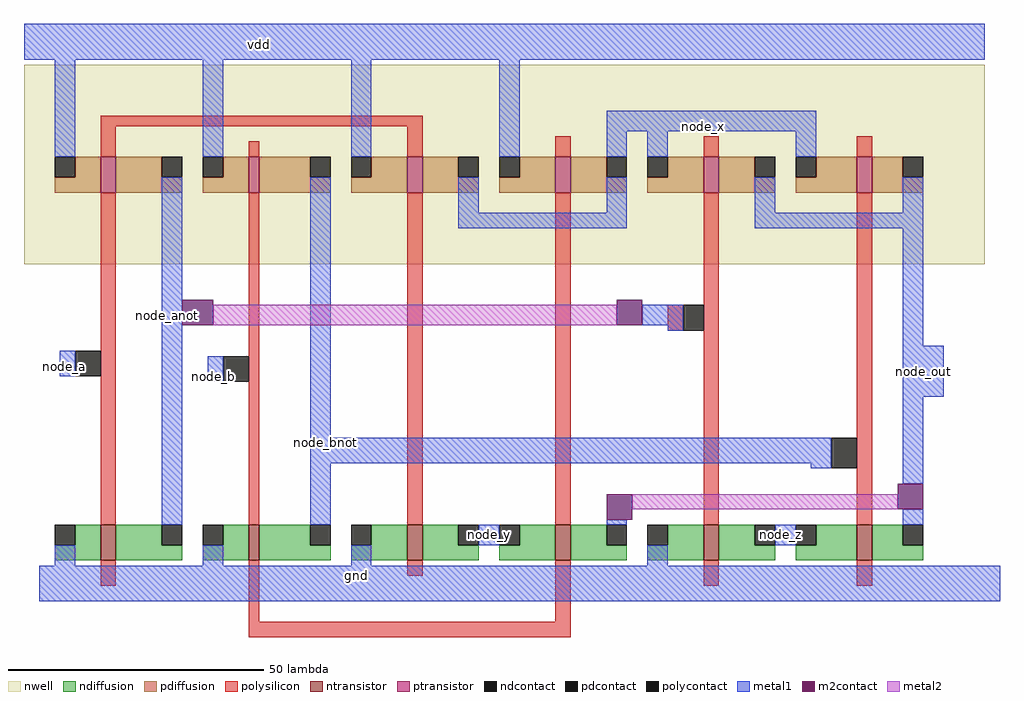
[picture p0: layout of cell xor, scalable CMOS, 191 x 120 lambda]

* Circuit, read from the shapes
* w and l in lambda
.subckt xor gnd node_a node_anot node_b node_bnot node_out node_x node_y node_z vdd
M1 node_anot node_a gnd VSUBS nfet w=7 l=3
M2 node_bnot node_b gnd VSUBS nfet w=7 l=2
M3 node_y node_a gnd VSUBS nfet w=7 l=3
M4 node_out node_b node_y VSUBS nfet w=7 l=3
M5 node_z node_anot gnd VSUBS nfet w=7 l=3
M6 node_out node_bnot node_z VSUBS nfet w=7 l=3
M7 node_anot node_a vdd n1 pfet w=7 l=3
M8 node_bnot node_b vdd n1 pfet w=7 l=2
M9 node_x node_a vdd n1 pfet w=7 l=3
M10 node_x node_b vdd n1 pfet w=7 l=3
M11 node_out node_anot node_x n1 pfet w=7 l=3
M12 node_out node_bnot node_x n1 pfet w=7 l=3
.ends

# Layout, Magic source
magic
tech scmos
<< nwell >>
rect -565 470 -377 509
<< ntransistor >>
rect -550 412 -547 419
rect -521 412 -519 419
rect -490 412 -487 419
rect -461 412 -458 419
rect -432 412 -429 419
rect -402 412 -399 419
<< ptransistor >>
rect -550 484 -547 491
rect -521 484 -519 491
rect -490 484 -487 491
rect -461 484 -458 491
rect -432 484 -429 491
rect -402 484 -399 491
<< ndiffusion >>
rect -555 415 -550 419
rect -559 412 -550 415
rect -547 415 -538 419
rect -547 412 -534 415
rect -526 415 -521 419
rect -530 412 -521 415
rect -519 415 -509 419
rect -519 412 -505 415
rect -497 415 -490 419
rect -501 412 -490 415
rect -487 415 -480 419
rect -487 412 -476 415
rect -468 415 -461 419
rect -472 412 -461 415
rect -458 415 -451 419
rect -458 412 -447 415
rect -439 415 -432 419
rect -443 412 -432 415
rect -429 415 -422 419
rect -429 412 -418 415
rect -410 415 -402 419
rect -414 412 -402 415
rect -399 415 -393 419
rect -399 412 -389 415
<< pdiffusion >>
rect -555 487 -550 491
rect -559 484 -550 487
rect -547 487 -538 491
rect -547 484 -534 487
rect -526 487 -521 491
rect -530 484 -521 487
rect -519 487 -509 491
rect -519 484 -505 487
rect -497 487 -490 491
rect -501 484 -490 487
rect -487 487 -480 491
rect -487 484 -476 487
rect -468 487 -461 491
rect -472 484 -461 487
rect -458 487 -451 491
rect -458 484 -447 487
rect -439 487 -432 491
rect -443 484 -432 487
rect -429 487 -422 491
rect -429 484 -418 487
rect -410 487 -402 491
rect -414 484 -402 487
rect -399 487 -393 491
rect -399 484 -389 487
<< ndcontact >>
rect -559 415 -555 419
rect -538 415 -534 419
rect -530 415 -526 419
rect -509 415 -505 419
rect -501 415 -497 419
rect -480 415 -476 419
rect -472 415 -468 419
rect -451 415 -447 419
rect -443 415 -439 419
rect -422 415 -418 419
rect -414 415 -410 419
rect -393 415 -389 419
<< pdcontact >>
rect -559 487 -555 491
rect -538 487 -534 491
rect -530 487 -526 491
rect -509 487 -505 491
rect -501 487 -497 491
rect -480 487 -476 491
rect -472 487 -468 491
rect -451 487 -447 491
rect -443 487 -439 491
rect -422 487 -418 491
rect -414 487 -410 491
rect -393 487 -389 491
<< polysilicon >>
rect -550 497 -487 499
rect -550 491 -547 497
rect -521 491 -519 494
rect -490 491 -487 497
rect -461 491 -458 495
rect -432 491 -429 495
rect -402 491 -399 495
rect -550 419 -547 484
rect -521 419 -519 484
rect -490 419 -487 484
rect -461 419 -458 484
rect -439 457 -436 462
rect -432 419 -429 484
rect -402 419 -399 484
rect -550 407 -547 412
rect -521 400 -519 412
rect -490 409 -487 412
rect -461 400 -458 412
rect -432 407 -429 412
rect -402 407 -399 412
rect -521 397 -458 400
<< polycontact >>
rect -555 448 -550 453
rect -526 447 -521 452
rect -436 457 -432 462
rect -407 430 -402 436
<< metal1 >>
rect -565 510 -377 517
rect -559 491 -555 510
rect -530 491 -526 510
rect -501 491 -497 510
rect -472 491 -468 510
rect -451 496 -410 500
rect -451 491 -447 496
rect -443 491 -439 496
rect -414 491 -410 496
rect -558 448 -555 453
rect -538 419 -534 487
rect -529 447 -526 452
rect -509 436 -505 487
rect -480 480 -476 487
rect -451 480 -447 487
rect -480 477 -447 480
rect -422 480 -418 487
rect -393 480 -389 487
rect -422 477 -389 480
rect -444 458 -436 462
rect -439 457 -436 458
rect -393 454 -389 477
rect -393 444 -385 454
rect -509 431 -407 436
rect -509 419 -505 431
rect -411 430 -407 431
rect -393 427 -389 444
rect -451 419 -447 420
rect -393 419 -389 422
rect -476 415 -472 419
rect -418 415 -414 419
rect -559 411 -555 415
rect -530 411 -526 415
rect -501 411 -497 415
rect -443 411 -439 415
rect -562 404 -374 411
<< m2contact >>
rect -534 458 -528 463
rect -449 458 -444 463
rect -451 420 -446 425
rect -394 422 -389 427
<< metal2 >>
rect -528 458 -449 462
rect -446 422 -394 425
<< labels >>
rlabel metal1 -519 513 -519 513 5 vdd
rlabel metal1 -557 450 -557 450 1 node_a
rlabel metal1 -528 448 -528 448 1 node_b
rlabel metal1 -537 460 -537 460 1 node_anot
rlabel metal1 -506 435 -506 435 1 node_bnot
rlabel metal1 -500 409 -500 409 1 gnd
rlabel metal1 -389 449 -389 449 1 node_out
rlabel metal1 -432 497 -432 497 1 node_x
rlabel metal1 -474 417 -474 417 1 node_y
rlabel metal1 -417 417 -417 417 1 node_z
<< end >>
